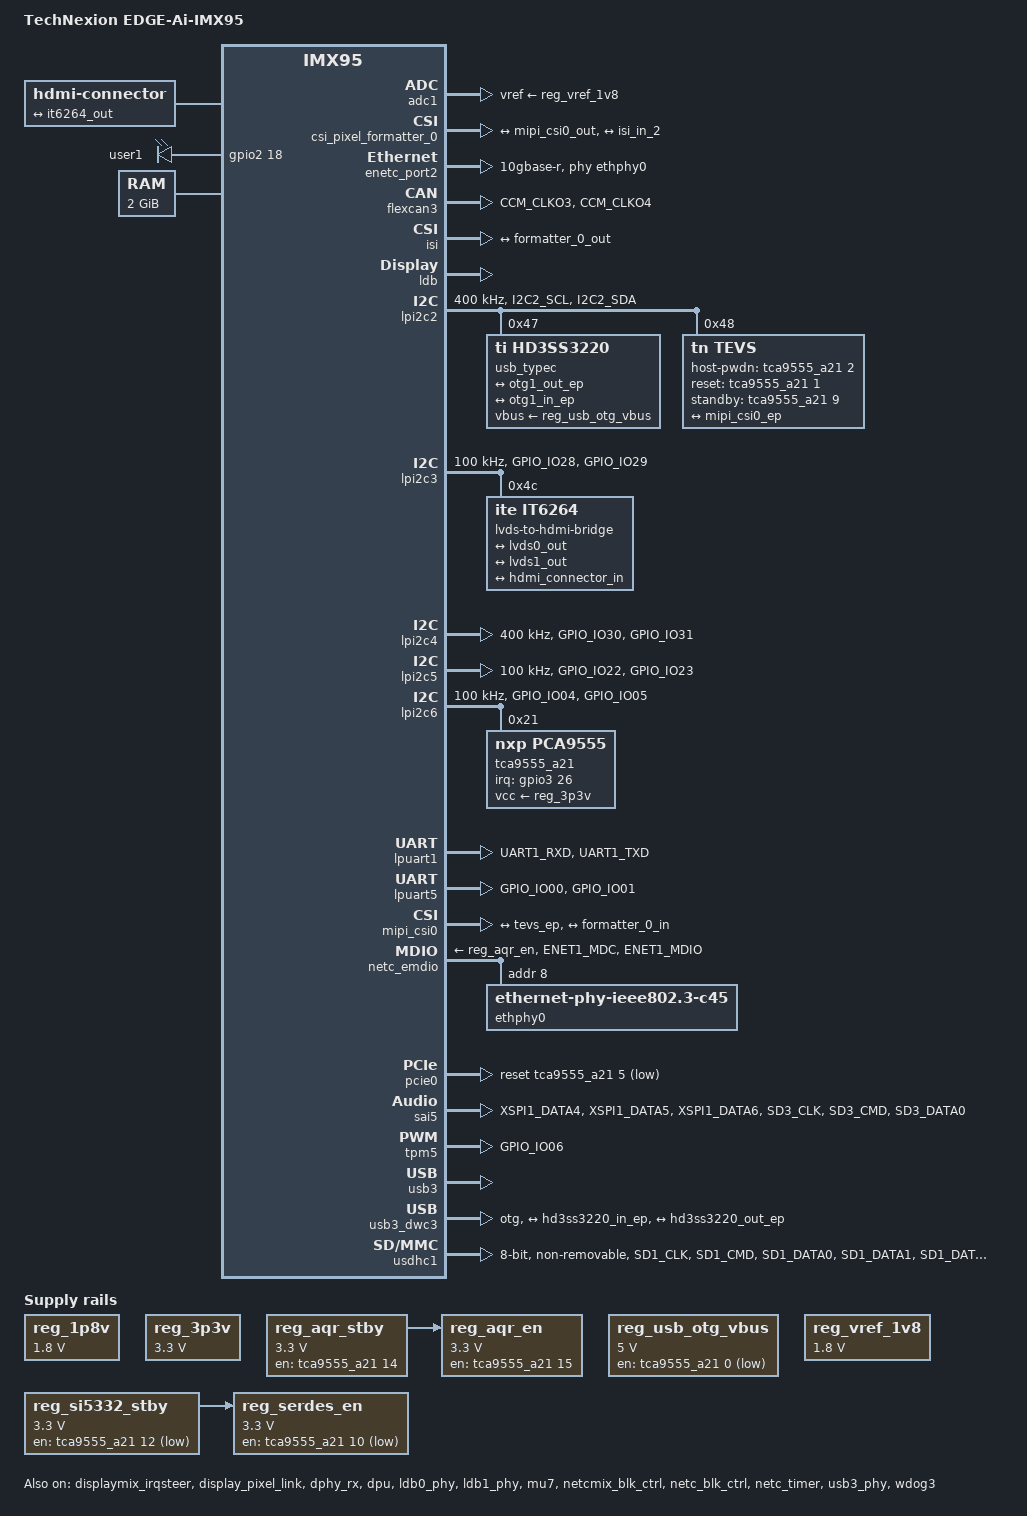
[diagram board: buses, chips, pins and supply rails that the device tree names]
// SPDX-License-Identifier: (GPL-2.0 OR MIT)
/*
 * Copyright 2025 TechNexion Ltd.
 *
 * Author: Ray Chang <ray.chang@technexion.com>
 *
 */

/dts-v1/;

#include <dt-bindings/phy/phy-imx8-pcie.h>
#include "imx95.dtsi"

/ {
	compatible = "fsl,imx95-edge-ai", "fsl,imx95";
	model = "TechNexion EDGE-Ai-IMX95";

	aliases {
		ethernet0 = &enetc_port2;
		mmc0 = &usdhc1;
		rtc0 = &scmi_bbm;
		serial0 = &lpuart1;
	};

	chosen {
		#address-cells = <2>;
		#size-cells = <2>;
		stdout-path = &lpuart1;

		/* will be updated by U-boot when booting Xen */
		module@0 {
			compatible = "xen,linux-zimage", "xen,multiboot-module";
			reg = <0x00000000 0x9e000000 0x00000000 0x2000000>;
			bootargs = "earlycon=xen console=hvc0 loglevel=8 root=/dev/mmcblk1p2 rw rootwait";
		};
	};

	cm7: imx95-cm7 {
		compatible = "fsl,imx95-cm7";
		mboxes = <&mu7 0 1
			  &mu7 1 1
			  &mu7 3 1>;
		mbox-names = "tx", "rx", "rxdb";
		memory-region = <&vdevbuffer>, <&vdev0vring0>, <&vdev0vring1>,
				<&vdev1vring0>, <&vdev1vring1>, <&rsc_table>;
		/* cpuid and lmmid must align with SM firmware */
		fsl,cpu-id = <1>;
		fsl,lmm-id = <1>;
		fsl,startup-delay-ms = <50>;
		status = "okay";
	};

	hdmi-connector {
		compatible = "hdmi-connector";
		label = "hdmi";
		type = "a";

		port {
			hdmi_connector_in: endpoint {
				remote-endpoint = <&it6264_out>;
			};
		};
	};

	leds {
		compatible = "gpio-leds";
		pinctrl-0 = <&pinctrl_led>;
		pinctrl-names = "default";

		led0: led-0 {
			default-state = "on";
			gpios = <&gpio2 18 GPIO_ACTIVE_HIGH>;
			label = "user1";
		};
	};

	reg_1p8v: regulator-1p8v {
		compatible = "regulator-fixed";
		regulator-max-microvolt = <1800000>;
		regulator-min-microvolt = <1800000>;
		regulator-name = "+V1.8_SW";
	};

	reg_3p3v: regulator-3p3v {
		compatible = "regulator-fixed";
		regulator-max-microvolt = <3300000>;
		regulator-min-microvolt = <3300000>;
		regulator-name = "+V3.3_SW";
	};

	reg_aqr_stby: regulator-aqr-stby {
		compatible = "regulator-fixed";
		regulator-name = "aqr-stby";
		regulator-min-microvolt = <3300000>;
		regulator-max-microvolt = <3300000>;
		gpio = <&tca9555_a21 14 GPIO_ACTIVE_HIGH>;
		enable-active-high;
	};

	reg_aqr_en: regulator-aqr-en {
		compatible = "regulator-fixed";
		regulator-name = "aqr-en";
		regulator-min-microvolt = <3300000>;
		regulator-max-microvolt = <3300000>;
		vin-supply = <&reg_aqr_stby>;
		gpio = <&tca9555_a21 15 GPIO_ACTIVE_HIGH>;
		enable-active-high;
	};

	reg_usb_otg_vbus: regulator-otg-vbus {
		compatible = "regulator-fixed";
		pinctrl-names = "default";
		regulator-name = "usb_otg_vbus";
		regulator-max-microvolt = <5000000>;
		regulator-min-microvolt = <5000000>;
		gpio = <&tca9555_a21 0 GPIO_ACTIVE_LOW>;
	};

	reg_vref_1v8: regulator-adc-vref {
		compatible = "regulator-fixed";
		regulator-max-microvolt = <1800000>;
		regulator-min-microvolt = <1800000>;
		regulator-name = "vref_1v8";
	};

	reg_si5332_stby: regulator-si5332-stby {
		compatible = "regulator-fixed";
		regulator-name = "si5332-stby";
		regulator-min-microvolt = <3300000>;
		regulator-max-microvolt = <3300000>;
		gpio = <&tca9555_a21 12 GPIO_ACTIVE_LOW>;
		regulator-always-on;
	};

	reg_serdes_en: regulator-mac-en {
		compatible = "regulator-fixed";
		regulator-name = "mac-en";
		regulator-min-microvolt = <3300000>;
		regulator-max-microvolt = <3300000>;
		vin-supply = <&reg_si5332_stby>;
		gpio = <&tca9555_a21 10 GPIO_ACTIVE_LOW>;
	};

	reserved-memory {
		ranges;
		#address-cells = <2>;
		#size-cells = <2>;

		linux_cma: linux,cma {
			compatible = "shared-dma-pool";
			alloc-ranges = <0 0x80000000 0 0x7f000000>;
			reusable;
			size = <0 0x3c000000>;
			linux,cma-default;
		};

		vdev0vring0: vdev0vring0@88000000 {
			reg = <0 0x88000000 0 0x8000>;
			no-map;
		};

		vdev0vring1: vdev0vring1@88008000 {
			reg = <0 0x88008000 0 0x8000>;
			no-map;
		};

		vdev1vring0: vdev1vring0@88010000 {
			reg = <0 0x88010000 0 0x8000>;
			no-map;
		};

		vdev1vring1: vdev1vring1@88018000 {
			reg = <0 0x88018000 0 0x8000>;
			no-map;
		};

		vdevbuffer: vdevbuffer@88020000 {
			compatible = "shared-dma-pool";
			reg = <0 0x88020000 0 0x100000>;
			no-map;
		};

		rsc_table: rsc-table@88220000 {
			reg = <0 0x88220000 0 0x1000>;
			no-map;
		};

		vpu_boot: vpu_boot@a0000000 {
			reg = <0 0xa0000000 0 0x100000>;
			no-map;
		};
	};

	memory@80000000 {
		reg = <0x0 0x80000000 0 0x80000000>;
		device_type = "memory";
	};
};

&adc1 {
	vref-supply = <&reg_vref_1v8>;
	status = "okay";
};

&csi_pixel_formatter_0 {
	status = "okay";

	ports {
		#address-cells = <1>;
		#size-cells = <0>;

		port@0 {
			reg = <0>;

			formatter_0_in: endpoint {
				remote-endpoint = <&mipi_csi0_out>;
			};
		};

		port@1 {
			reg = <1>;

			formatter_0_out: endpoint {
				remote-endpoint = <&isi_in_2>;
			};
		};
	};
};

&displaymix_irqsteer {
	status = "okay";
};

&display_pixel_link {
	status = "okay";
};

&dphy_rx {
	status = "okay";
};

&dpu {
	status = "okay";
};

&enetc_port2 {
	phy-handle = <&ethphy0>;
	phy-mode = "10gbase-r";
	serdes-supply = <&reg_serdes_en>;
	managed = "in-band-status";
	nvmem-cells = <&eth_mac0>;
	status = "okay";
};

&flexcan3 {
	pinctrl-0 = <&pinctrl_flexcan3>;
	pinctrl-names = "default";
	status = "okay";
};

&gpio2 {
	pinctrl-0 = <&pinctrl_gpio2>;
	gpio-line-names =	\
		"", "", "", "", "", "", "", "",	\
		"", "ISO_DO1", "", "ISO_DO2", "", "", "", "",	\
		"", "", "", "", "", "", "", "",	\
		"", "", "", "", "", "", "", "";
};

&gpio5 {
	pinctrl-0 = <&pinctrl_gpio5>;
	gpio-line-names =	\
		"", "", "", "", "", "", "", "",	\
		"", "", "", "", "", "", "", "",	\
		"ISO_DI1", "ISO_DI2", "", "", "", "", "", "",	\
		"", "", "", "", "", "", "", "";
};

&isi {
	status = "okay";

	ports {
		#address-cells = <1>;
		#size-cells = <0>;

		port@2 {
			reg = <2>;

			isi_in_2: endpoint {
				remote-endpoint = <&formatter_0_out>;
			};
		};
	};
};

&ldb {
	#address-cells = <1>;
	#size-cells = <0>;
	assigned-clocks = <&scmi_clk IMX95_CLK_LDBPLL_VCO>,
			  <&scmi_clk IMX95_CLK_LDBPLL>;
	assigned-clock-rates = <4158000000>, <1039500000>;
	status = "okay";

	channel@0 {
		#address-cells = <1>;
		#size-cells = <0>;
		reg = <0>;
		status = "okay";

		port@1 {
			reg = <1>;

			lvds0_out: endpoint {
				remote-endpoint = <&it6264_in_odd>;
			};
		};
	};

	channel@1 {
		#address-cells = <1>;
		#size-cells = <0>;
		reg = <1>;
		status = "okay";

		port@1 {
			reg = <1>;

			lvds1_out: endpoint {
				remote-endpoint = <&it6264_in_even>;
			};
		};
	};
};

&ldb0_phy {
	status = "okay";
};

&ldb1_phy {
	status = "okay";
};

&lpi2c2 {
	/* CSI0_I2C */
	clock-frequency = <400000>;
	pinctrl-0 = <&pinctrl_lpi2c2>;
	pinctrl-names = "default";
	status = "okay";

	usb_typec: usb-typec@47 {
		compatible = "ti,hd3ss3220";
		reg = <0x47>;
		vbus-supply = <&reg_usb_otg_vbus>;

		ports {
			#address-cells = <1>;
			#size-cells = <0>;

			port@0 {
				reg = <0>;

				hd3ss3220_in_ep: endpoint {
					remote-endpoint = <&otg1_out_ep>;
				};
			};

			port@1 {
				reg = <1>;

				hd3ss3220_out_ep: endpoint {
					remote-endpoint = <&otg1_in_ep>;
				};
			};
		};
	};

	tevs: tevs@48 {
		compatible = "tn,tevs";
		reg = <0x48>;
		host-pwdn-gpios = <&tca9555_a21 2 GPIO_ACTIVE_HIGH>;
		reset-gpios = <&tca9555_a21 1 GPIO_ACTIVE_HIGH>;
		standby-gpios = <&tca9555_a21 9 GPIO_ACTIVE_HIGH>;

		port {
			tevs_ep: endpoint {
				remote-endpoint = <&mipi_csi0_ep>;
				data-lanes = <1 2 3 4>;
				clock-lanes = <0>;
				clock-noncontinuous;
				link-frequencies = /bits/ 64 <400000000>;
			};
		};
	};
};

&lpi2c3 {
	/* J2/LVDS-to-HDMI */
	clock-frequency = <100000>;
	pinctrl-0 = <&pinctrl_lpi2c3>;
	pinctrl-names = "default";
	status = "okay";

	lvds-to-hdmi-bridge@4c {
		compatible = "ite,it6264";
		reg = <0x4c>;
		split-mode;

		ports {
			#address-cells = <1>;
			#size-cells = <0>;

			port@0 {
				reg = <0>;
				dual-lvds-odd-pixels;
				it6264_in_odd: endpoint {
					remote-endpoint = <&lvds0_out>;
				};
			};

			port@1 {
				reg = <1>;
				dual-lvds-even-pixels;
				it6264_in_even: endpoint {
					remote-endpoint = <&lvds1_out>;
				};
			};

			port@2 {
				reg = <2>;

				it6264_out: endpoint {
					remote-endpoint = <&hdmi_connector_in>;
				};
			};
		};
	};
};

&lpi2c4 {
	/* J2 */
	clock-frequency = <400000>;
	pinctrl-0 = <&pinctrl_lpi2c4>;
	pinctrl-names = "default";
	status = "okay";
};

&lpi2c5 {
	/* CSI1_I2C/J3 */
	clock-frequency = <100000>;
	pinctrl-0 = <&pinctrl_lpi2c5>;
	pinctrl-names = "default";
	status = "okay";
};

&lpi2c6 {
	/* CLK GEN */
	#address-cells = <1>;
	#size-cells = <0>;
	clock-frequency = <100000>;
	pinctrl-0 = <&pinctrl_lpi2c6>;
	pinctrl-names = "default";
	status = "okay";

	tca9555_a21: gpio@21 {
		compatible = "nxp,pca9555";
		reg = <0x21>;
		#interrupt-cells = <2>;
		interrupt-controller;
		interrupt-parent = <&gpio3>;
		interrupts = <26 IRQ_TYPE_LEVEL_LOW>;
		#gpio-cells = <2>;
		gpio-controller;
		gpio-line-names = "USB_OTG_PWR_EN", "CSI0_RST_N", "CSI_PWDN", "CSI1_RST_N", "PCIE1_CLKREQ_N", "PCIE1_RST_N", "ISO_GPI", "ISO_GPO",
						"CSI1_PDB", "CSI0_PDB", "ETH_CLK_EN", "", "SI5332_RST", "USB_OTG_OC", "AQR113C_RST_B", "AQR_PWR_EN";
		pinctrl-0 = <&pinctrl_tca9555_a21_irq>;
		pinctrl-names = "default";
		vcc-supply = <&reg_3p3v>;
		status = "okay";

		tca9555_a21_pins_default: tca9555_a21_pins_default {
			drive-open-drain;
			pins = "USB_OTG_PWR_EN", "CSI0_RST_N", "CSI_PWDN", "CSI1_RST_N",
					"PCIE1_CLKREQ_N", "PCIE1_RST_N", "CAN3_GPIO1", "CAN3_GPIO2",
					"USB_OTG_OC";
		};
	};
};

&lpuart1 {
	/* console */
	pinctrl-names = "default";
	pinctrl-0 = <&pinctrl_uart1>;
	status = "okay";
};

&lpuart5 {
	/* RS232 */
	pinctrl-names = "default";
	pinctrl-0 = <&pinctrl_uart5>;
	status = "okay";
};

&mipi_csi0 {
	status = "okay";

	ports {
		#address-cells = <1>;
		#size-cells = <0>;

		port@0 {
			reg = <0>;
			mipi_csi0_ep: endpoint {
				remote-endpoint = <&tevs_ep>;
				data-lanes = <1 2 3 4>;
				clock-lanes = <0>;
			};
		};

		port@1 {
			reg = <1>;
			mipi_csi0_out: endpoint {
				remote-endpoint = <&formatter_0_in>;
			};
		};
	};
};

&mu7 {
	status = "okay";
};

&netcmix_blk_ctrl {
	status = "okay";
};

&netc_blk_ctrl {
	status = "okay";
};

&netc_emdio {
	pinctrl-names = "default";
	pinctrl-0 = <&pinctrl_emdio>;
	phy-supply = <&reg_aqr_en>;
	status = "okay";

	ethphy0: ethernet-phy@8 {
		compatible = "ethernet-phy-ieee802.3-c45";
		reg = <8>;
	};
};

&netc_timer {
	status = "okay";
};

&pcie0 {
	/* PCIE1 M.2 B key */
	reset-gpio = <&tca9555_a21 5 GPIO_ACTIVE_LOW>;
	status = "okay";
};

&sai5 {
	assigned-clocks = <&scmi_clk IMX95_CLK_AUDIOPLL1_VCO>,
			  <&scmi_clk IMX95_CLK_AUDIOPLL2_VCO>,
			  <&scmi_clk IMX95_CLK_AUDIOPLL1>,
			  <&scmi_clk IMX95_CLK_AUDIOPLL2>,
			  <&scmi_clk IMX95_CLK_SAI5>;
	assigned-clock-parents = <0>, <0>, <0>, <0>,
				 <&scmi_clk IMX95_CLK_AUDIOPLL1>;
	assigned-clock-rates = <3932160000>,
			       <3612672000>, <393216000>,
			       <361267200>, <12288000>;
	#sound-dai-cells = <0>;
	pinctrl-0 = <&pinctrl_sai5>;
	pinctrl-names = "default";
	fsl,sai-mclk-direction-output;
	status = "okay";
};

&thermal_zones {
	a55-thermal {
		trips {
			atrip2: trip2 {
				hysteresis = <2000>;
				temperature = <55000>;
				type = "active";
			};

			atrip3: trip3 {
				hysteresis = <2000>;
				temperature = <65000>;
				type = "active";
			};

			atrip4: trip4 {
				hysteresis = <2000>;
				temperature = <75000>;
				type = "active";
			};
		};
	};

	pf09 {
		polling-delay = <2000>;
		polling-delay-passive = <250>;
		thermal-sensors = <&scmi_sensor 2>;

		trips {

			pf09_alert: trip0 {
				hysteresis = <2000>;
				temperature = <140000>;
				type = "passive";
			};

			pf09_crit: trip1 {
				hysteresis = <2000>;
				temperature = <155000>;
				type = "critical";
			};
		};
	};

	pf53_arm {
		polling-delay = <2000>;
		polling-delay-passive = <250>;
		thermal-sensors = <&scmi_sensor 4>;

		cooling-maps {
			map0 {
				cooling-device = <&A55_0 THERMAL_NO_LIMIT THERMAL_NO_LIMIT>,
					<&A55_1 THERMAL_NO_LIMIT THERMAL_NO_LIMIT>,
					<&A55_2 THERMAL_NO_LIMIT THERMAL_NO_LIMIT>,
					<&A55_3 THERMAL_NO_LIMIT THERMAL_NO_LIMIT>,
					<&A55_4 THERMAL_NO_LIMIT THERMAL_NO_LIMIT>,
					<&A55_5 THERMAL_NO_LIMIT THERMAL_NO_LIMIT>;
				trip = <&pf5301_alert>;
			};
		};

		trips {

			pf5301_alert: trip0 {
				hysteresis = <2000>;
				temperature = <140000>;
				type = "passive";
			};

			pf5301_crit: trip1 {
				hysteresis = <2000>;
				temperature = <155000>;
				type = "critical";
			};
		};
	};

	pf53_soc {
		polling-delay = <2000>;
		polling-delay-passive = <250>;
		thermal-sensors = <&scmi_sensor 3>;

		trips {

			pf5302_alert: trip0 {
				hysteresis = <2000>;
				temperature = <140000>;
				type = "passive";
			};

			pf5302_crit: trip1 {
				hysteresis = <2000>;
				temperature = <155000>;
				type = "critical";
			};
		};
	};
};

&tpm5 {
	pinctrl-0 = <&pinctrl_tpm5>;
	pinctrl-names = "default";
	status = "okay";
};

&usb3 {
	status = "okay";
};

&usb3_dwc3 {
	dr_mode = "otg";
	hnp-disable;
	srp-disable;
	adp-disable;
	usb-role-switch;
	role-switch-default-mode = "none";
	snps,dis-u1-entry-quirk;
	snps,dis-u2-entry-quirk;
	status = "okay";

	ports {
		#address-cells = <1>;
		#size-cells = <0>;

		port@0 {
			reg = <0>;

			otg1_out_ep: endpoint {
				remote-endpoint = <&hd3ss3220_in_ep>;
			};
		};

		port@1 {
			reg = <1>;

			otg1_in_ep: endpoint {
				remote-endpoint = <&hd3ss3220_out_ep>;
			};
		};
	};
};

&usb3_phy {
	fsl,phy-pcs-tx-deemph-3p5db-attenuation-db = <17>;
	fsl,phy-pcs-tx-swing-full-percent = <100>;
	fsl,phy-tx-preemp-amp-tune-microamp = <600>;
	fsl,phy-tx-vboost-level-microvolt = <1156>;
	status = "okay";
};

&usdhc1 {
	bus-width = <8>;
	non-removable;
	no-sd;
	no-sdio;
	pinctrl-0 = <&pinctrl_usdhc1>;
	pinctrl-1 = <&pinctrl_usdhc1_100mhz>;
	pinctrl-2 = <&pinctrl_usdhc1_200mhz>;
	pinctrl-3 = <&pinctrl_usdhc1>;
	pinctrl-names = "default", "state_100mhz", "state_200mhz", "sleep";
	status = "okay";
};

&vpuctrl {
	boot = <&vpu_boot>;
	sram = <&sram1>;
};

&wdog3 {
	fsl,ext-reset-output;
	status = "okay";
};

&scmi_iomuxc {
	pinctrl_emdio: emdiogrp {
		fsl,pins = <
			IMX95_PAD_ENET1_MDC__NETCMIX_TOP_NETC_MDC		0x50e
			IMX95_PAD_ENET1_MDIO__NETCMIX_TOP_NETC_MDIO		0x90e
		>;
	};

	pinctrl_flexcan3: flexcan1grp {
		fsl,pins = <
			IMX95_PAD_CCM_CLKO3__CAN3_TX			0x39e
			IMX95_PAD_CCM_CLKO4__CAN3_RX			0x39e
		>;
	};

	pinctrl_gpio2: gpio2grp {
		fsl,pins = <
			IMX95_PAD_GPIO_IO09__GPIO2_IO_BIT9		0x31e
			IMX95_PAD_GPIO_IO11__GPIO2_IO_BIT11		0x31e
		>;
	};

	pinctrl_gpio5: gpio5grp {
		fsl,pins = <
			IMX95_PAD_GPIO_IO36__GPIO5_IO_BIT16		0x31e
			IMX95_PAD_GPIO_IO37__GPIO5_IO_BIT17		0x31e
		>;
	};

	pinctrl_led: ledgrp {
		fsl,pins = <
			IMX95_PAD_GPIO_IO18__GPIO2_IO_BIT18		0x3fe
		>;
	};

	pinctrl_lpi2c1: lpi2c1grp {
		fsl,pins = <
			IMX95_PAD_I2C1_SCL__AONMIX_TOP_LPI2C1_SCL	0x40000b9e
			IMX95_PAD_I2C1_SDA__AONMIX_TOP_LPI2C1_SDA	0x40000b9e
		>;
	};

	pinctrl_lpi2c2: lpi2c2grp {
		fsl,pins = <
			IMX95_PAD_I2C2_SCL__AONMIX_TOP_LPI2C2_SCL	0x40000b9e
			IMX95_PAD_I2C2_SDA__AONMIX_TOP_LPI2C2_SDA	0x40000b9e
		>;
	};

	pinctrl_lpi2c3: lpi2c3grp {
		fsl,pins = <
			IMX95_PAD_GPIO_IO28__LPI2C3_SDA			0x40000b9e
			IMX95_PAD_GPIO_IO29__LPI2C3_SCL			0x40000b9e
		>;
	};

	pinctrl_lpi2c4: lpi2c4grp {
		fsl,pins = <
			IMX95_PAD_GPIO_IO30__LPI2C4_SDA			0x40000b9e
			IMX95_PAD_GPIO_IO31__LPI2C4_SCL			0x40000b9e
		>;
	};

	pinctrl_lpi2c5: lpi2c5grp {
		fsl,pins = <
			IMX95_PAD_GPIO_IO22__LPI2C5_SDA			0x40000b9e
			IMX95_PAD_GPIO_IO23__LPI2C5_SCL			0x40000b9e
		>;
	};

	pinctrl_lpi2c6: lpi2c6grp {
		fsl,pins = <
			IMX95_PAD_GPIO_IO04__LPI2C6_SDA			0x40000b9e
			IMX95_PAD_GPIO_IO05__LPI2C6_SCL			0x40000b9e
		>;
	};

	pinctrl_mipi_dsi_csi: mipidsigrp {
		fsl,pins = <
			IMX95_PAD_CCM_CLKO2__GPIO3_IO_BIT27			0x31e
		>;
	};

	pinctrl_tca9555_a21_irq: pca9555_a21_irqgrp {
		fsl,pins = <
			IMX95_PAD_CCM_CLKO1__GPIO3_IO_BIT26			0x31e
		>;
	};

	pinctrl_pdm: pdmgrp {
		fsl,pins = <
			IMX95_PAD_PDM_CLK__AONMIX_TOP_PDM_CLK				0x31e
			IMX95_PAD_PDM_BIT_STREAM0__AONMIX_TOP_PDM_BIT_STREAM_BIT0	0x31e
		>;
	};

	pinctrl_sai5: sai5grp {
		fsl,pins = <
			IMX95_PAD_XSPI1_DATA4__SAI5_TX_DATA_BIT0			0x31e
			IMX95_PAD_XSPI1_DATA5__SAI5_TX_SYNC					0x31e
			IMX95_PAD_XSPI1_DATA6__SAI5_TX_BCLK					0x31e
			IMX95_PAD_SD3_CLK__SAI5_TX_DATA_BIT1				0x31e
			IMX95_PAD_SD3_CMD__SAI5_TX_DATA_BIT2				0x31e
			IMX95_PAD_SD3_DATA0__SAI5_TX_DATA_BIT3				0x31e
		>;
	};

	pinctrl_tpm5: tpm5grp {
		fsl,pins = <
			IMX95_PAD_GPIO_IO06__TPM5_CH0			0x51e
		>;
	};

	pinctrl_uart1: uart1grp {
		fsl,pins = <
			IMX95_PAD_UART1_RXD__AONMIX_TOP_LPUART1_RX      0x31e
			IMX95_PAD_UART1_TXD__AONMIX_TOP_LPUART1_TX      0x31e
		>;
	};

	pinctrl_uart5: uart5grp {
		fsl,pins = <
			IMX95_PAD_GPIO_IO00__LPUART5_TX				0x31e
			IMX95_PAD_GPIO_IO01__LPUART5_RX				0x31e
		>;
	};

	pinctrl_usdhc1: usdhc1grp {
		fsl,pins = <
			IMX95_PAD_SD1_CLK__USDHC1_CLK				0x158e
			IMX95_PAD_SD1_CMD__USDHC1_CMD				0x138e
			IMX95_PAD_SD1_DATA0__USDHC1_DATA0			0x138e
			IMX95_PAD_SD1_DATA1__USDHC1_DATA1			0x138e
			IMX95_PAD_SD1_DATA2__USDHC1_DATA2			0x138e
			IMX95_PAD_SD1_DATA3__USDHC1_DATA3			0x138e
			IMX95_PAD_SD1_DATA4__USDHC1_DATA4			0x138e
			IMX95_PAD_SD1_DATA5__USDHC1_DATA5			0x138e
			IMX95_PAD_SD1_DATA6__USDHC1_DATA6			0x138e
			IMX95_PAD_SD1_DATA7__USDHC1_DATA7			0x138e
			IMX95_PAD_SD1_STROBE__USDHC1_STROBE			0x158e
		>;
	};

	pinctrl_usdhc1_100mhz: usdhc1-100mhzgrp {
		fsl,pins = <
			IMX95_PAD_SD1_CLK__USDHC1_CLK				0x158e
			IMX95_PAD_SD1_CMD__USDHC1_CMD				0x138e
			IMX95_PAD_SD1_DATA0__USDHC1_DATA0			0x138e
			IMX95_PAD_SD1_DATA1__USDHC1_DATA1			0x138e
			IMX95_PAD_SD1_DATA2__USDHC1_DATA2			0x138e
			IMX95_PAD_SD1_DATA3__USDHC1_DATA3			0x138e
			IMX95_PAD_SD1_DATA4__USDHC1_DATA4			0x138e
			IMX95_PAD_SD1_DATA5__USDHC1_DATA5			0x138e
			IMX95_PAD_SD1_DATA6__USDHC1_DATA6			0x138e
			IMX95_PAD_SD1_DATA7__USDHC1_DATA7			0x138e
			IMX95_PAD_SD1_STROBE__USDHC1_STROBE			0x158e
		>;
	};

	pinctrl_usdhc1_200mhz: usdhc1-200mhzgrp {
		fsl,pins = <
			IMX95_PAD_SD1_CLK__USDHC1_CLK				0x15fe
			IMX95_PAD_SD1_CMD__USDHC1_CMD				0x13fe
			IMX95_PAD_SD1_DATA0__USDHC1_DATA0			0x13fe
			IMX95_PAD_SD1_DATA1__USDHC1_DATA1			0x13fe
			IMX95_PAD_SD1_DATA2__USDHC1_DATA2			0x13fe
			IMX95_PAD_SD1_DATA3__USDHC1_DATA3			0x13fe
			IMX95_PAD_SD1_DATA4__USDHC1_DATA4			0x13fe
			IMX95_PAD_SD1_DATA5__USDHC1_DATA5			0x13fe
			IMX95_PAD_SD1_DATA6__USDHC1_DATA6			0x13fe
			IMX95_PAD_SD1_DATA7__USDHC1_DATA7			0x13fe
			IMX95_PAD_SD1_STROBE__USDHC1_STROBE			0x15fe
		>;
	};
};
